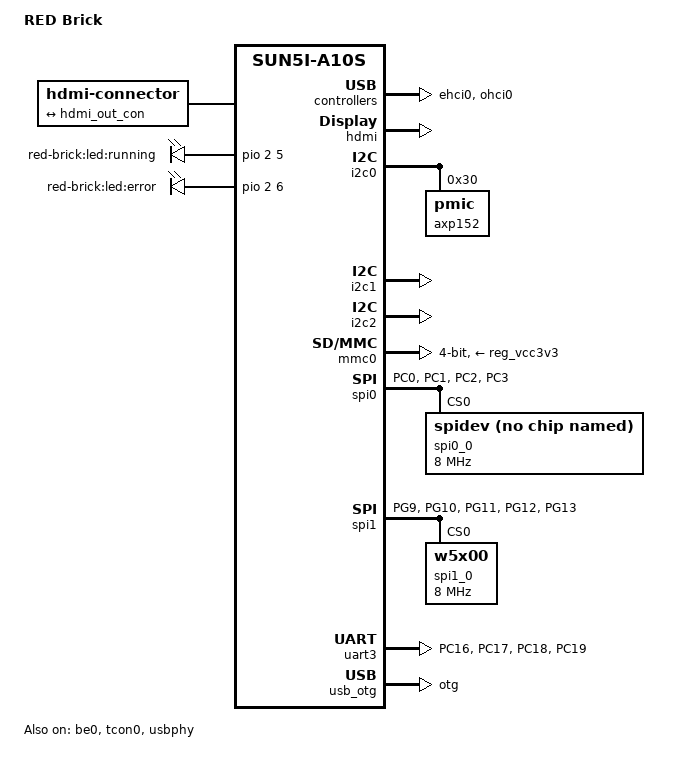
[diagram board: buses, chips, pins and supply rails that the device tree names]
/*
 * Copyright 2017 Ishraq Ibne Ashraf
 *
 * Ishraq Ibne Ashraf <ishraq@tinkerforge.com>
 *
 * This file is dual-licensed: you can use it either under the terms
 * of the GPL or the X11 license, at your option. Note that this dual
 * licensing only applies to this file, and not this project as a
 * whole.
 *
 *  a) This file is free software; you can redistribute it and/or
 *     modify it under the terms of the GNU General Public License as
 *     published by the Free Software Foundation; either version 2 of the
 *     License, or (at your option) any later version.
 *
 *     This file is distributed in the hope that it will be useful,
 *     but WITHOUT ANY WARRANTY; without even the implied warranty of
 *     MERCHANTABILITY or FITNESS FOR A PARTICULAR PURPOSE.  See the
 *     GNU General Public License for more details.
 *
 * Or, alternatively,
 *
 *  b) Permission is hereby granted, free of charge, to any person
 *     obtaining a copy of this software and associated documentation
 *     files (the "Software"), to deal in the Software without
 *     restriction, including without limitation the rights to use,
 *     copy, modify, merge, publish, distribute, sublicense, and/or
 *     sell copies of the Software, and to permit persons to whom the
 *     Software is furnished to do so, subject to the following
 *     conditions:
 *
 *     The above copyright notice and this permission notice shall be
 *     included in all copies or substantial portions of the Software.
 *
 *     THE SOFTWARE IS PROVIDED "AS IS", WITHOUT WARRANTY OF ANY KIND,
 *     EXPRESS OR IMPLIED, INCLUDING BUT NOT LIMITED TO THE WARRANTIES
 *     OF MERCHANTABILITY, FITNESS FOR A PARTICULAR PURPOSE AND
 *     NONINFRINGEMENT. IN NO EVENT SHALL THE AUTHORS OR COPYRIGHT
 *     HOLDERS BE LIABLE FOR ANY CLAIM, DAMAGES OR OTHER LIABILITY,
 *     WHETHER IN AN ACTION OF CONTRACT, TORT OR OTHERWISE, ARISING
 *     FROM, OUT OF OR IN CONNECTION WITH THE SOFTWARE OR THE USE OR
 *     OTHER DEALINGS IN THE SOFTWARE.
 */

/dts-v1/;
#include "sun5i-a10s.dtsi"
#include "sunxi-common-regulators.dtsi"

#include <dt-bindings/gpio/gpio.h>
#include <dt-bindings/input/input.h>
#include <dt-bindings/pinctrl/sun4i-a10.h>

/ {
	model = "RED Brick";
	compatible = "olimex,a10s-olinuxino-micro", "allwinner,sun5i-a10s";

	aliases {
		spi0 = &spi0;
		spi1 = &spi1;
		serial3 = &uart3;
	};

	chosen {
		stdout-path = "serial3:115200n8";
	};

	connector {
		compatible = "hdmi-connector";
		type = "d";

		port {
			hdmi_con_in: endpoint {
				remote-endpoint = <&hdmi_out_con>;
			};
		};
	};

	leds {
		compatible = "gpio-leds";
		pinctrl-names = "default";
		pinctrl-0 = <&led_pins_red_brick>;

		running {
			label = "red-brick:led:running";
			linux,default-trigger = "heartbeat";
			gpios = <&pio 2 5 GPIO_ACTIVE_HIGH>;
			default-state = "off";
		};

		error {
			label = "red-brick:led:error";
			gpios = <&pio 2 6 GPIO_ACTIVE_HIGH>;
			default-state = "off";
		};
	};
};

&be0 {
	status = "okay";
};

&ehci0 {
	status = "okay";
};

&hdmi {
	status = "okay";
};

&hdmi_out {
	hdmi_out_con: endpoint {
		remote-endpoint = <&hdmi_con_in>;
	};
};

&i2c0 {
	pinctrl-names = "default";
	pinctrl-0 = <&i2c0_pins_a>;
	status = "okay";

	axp152: pmic@30 {
		reg = <0x30>;
		interrupts = <0>;
	};
};

#include "axp152.dtsi"

&i2c1 {
	pinctrl-names = "default";
	pinctrl-0 = <&i2c1_pins_a>;
	status = "okay";
};

&i2c2 {
	pinctrl-names = "default";
	pinctrl-0 = <&i2c2_pins_a>;
	status = "okay";
};

&mmc0 {
	pinctrl-names = "default";
	pinctrl-0 = <&mmc0_pins_a>;
	vmmc-supply = <&reg_vcc3v3>;
	bus-width = <4>;
	cd-inverted;
	status = "okay";
};

&ohci0 {
	status = "okay";
};

&otg_sram {
	status = "okay";
};

&pio {
	led_pins_red_brick: led_pins@0 {
		pins = "PC5", "PC6";
		function = "gpio_out";
		drive-strength = <20>;
	};

	usb1_vbus_pin_olinuxino_m: usb1_vbus_pin@0 {
		pins = "PB10";
		function = "gpio_out";
	};

	uart3_pins_a: uart3@0 {
		pins = "PC16", "PC17";
	};

	uart3_cts_rts_pins_a: uart3-cts-rts@0 {
		pins = "PC18", "PC19";
	};

	spi0_pins_a: spi0@0 {
		allwinner,pins = "PC0", "PC1", "PC2", "PC3";
		allwinner,function = "spi0";
		allwinner,drive = <SUN4I_PINCTRL_10_MA>;
		allwinner,pull = <SUN4I_PINCTRL_PULL_DOWN>;
	};

	spi1_pins_a: spi1@0 {
		allwinner,pins = "PG9", "PG10", "PG11", "PG12", "PG13";
		allwinner,function = "spi1";
		allwinner,drive = <SUN4I_PINCTRL_10_MA>;
		allwinner,pull = <SUN4I_PINCTRL_PULL_DOWN>;
	};

  /*
   * On RED Brick I2C-2 is used by Brickd. With kernel image 1.10 it was observed
   * that a stack upon RED Brick with 5 master bricks and on the top an ethernet
   * extension causes the extension not being properly detected.
   *
   * The following explicit I2C-2 pin configuration seems to fix that problem.
   */
  i2c2_pins_a: i2c2@0 {
    allwinner,drive = <SUN4I_PINCTRL_40_MA>;
    allwinner,pull = <SUN4I_PINCTRL_PULL_UP>;
  };
};

&reg_usb1_vbus {
	pinctrl-0 = <&usb1_vbus_pin_olinuxino_m>;
	gpio = <&pio 1 10 GPIO_ACTIVE_HIGH>;
	status = "okay";
};

&spi0 {
	pinctrl-names = "default";
	pinctrl-0 = <&spi0_pins_a>;
	status = "okay";

	spi0_0 {
		compatible = "spidev";
		#address-cells = <1>;
		#size-cells = <0>;
		reg = <0>;
		spi-max-frequency = <8000000>;
	};
};

&spi1 {
	pinctrl-names = "default";
	pinctrl-0 = <&spi1_pins_a>;
	status = "okay";

	spi1_0 {
		compatible = "w5x00";
		#address-cells = <1>;
		#size-cells = <0>;
		reg = <0>;
		spi-max-frequency = <8000000>;
	};
};

&tcon0 {
	status = "okay";
};

&uart3 {
	pinctrl-names = "default";
	pinctrl-0 = <&uart3_pins_a>, <&uart3_cts_rts_pins_a>;
	status = "okay";
};

&usb_otg {
	dr_mode = "otg";
	status = "okay";
};

&usbphy {
	pinctrl-names = "default";
	usb1_vbus-supply = <&reg_usb1_vbus>;
	status = "okay";
};
